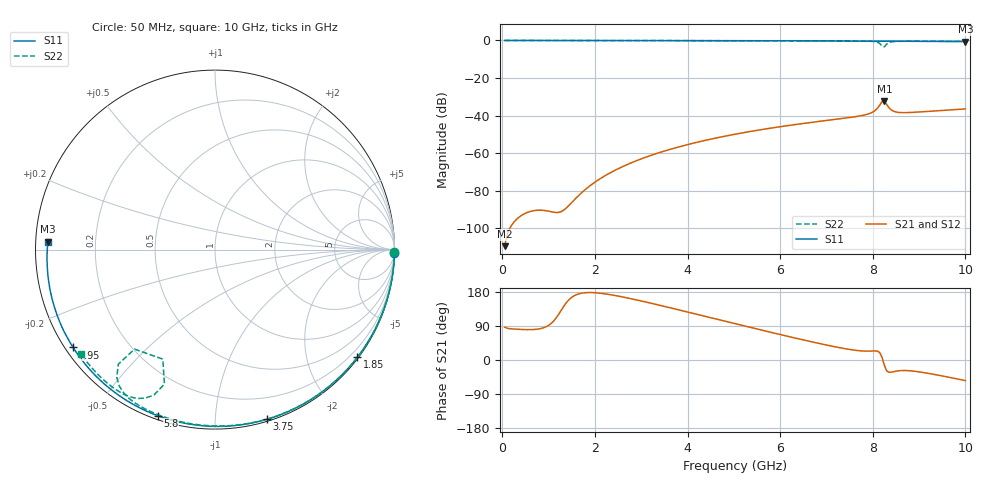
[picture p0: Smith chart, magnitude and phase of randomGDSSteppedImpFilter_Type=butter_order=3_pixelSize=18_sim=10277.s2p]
! freq	dB(S11)	phase(S11)	dB(S12)	phase(S12)
!  dB(S21)	phase(S21)	dB(S22)	phase(S22)
!S-par simulation data
#  GHz  S  DB  R 50
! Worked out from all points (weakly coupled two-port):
!   200 points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, 50 MHz to 10 GHz, reference 50 ohm
!   highest |S21| = -32.35 dB at 8.25 GHz (marker M1); lowest = -109.6 dB at 50 MHz (marker M2)
!   lowest |S11| = -0.6 dB at 10 GHz (marker M3), VSWR 28.49, Z = 1.76 + j1.2 ohm
!   |S11| at or under -10 dB: nowhere
!   |S22| runs from -3.4 to 0.0 dB; largest |S21 - S12| = 0
!   S11 on the Smith chart (normalised r, x): 50 MHz: open; 1.85 GHz: 0.03, -2.98; 3.75 GHz: 0.02, -1.35; 5.8 GHz: 0.02, -0.71; 7.95 GHz: 0.02, -0.31; 10 GHz: 0.04, +0.02
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0.05  -0.00 -1.0  -109.61 86.5  -109.61 86.5  -0.00 -0.8
0.85  -0.02 -17.3  -90.45 83.6  -90.45 83.6  -0.02 -14.0
1.75  -0.04 -35.1  -80.33 177.0  -80.33 177.0  -0.04 -28.6
1.85  -0.05 -37.1  -78.27 178.0  -78.27 178.0  -0.04 -30.2
2.15  -0.05 -43.0  -73.10 175.7  -73.10 175.7  -0.04 -35.0
2.5  -0.06 -49.7  -68.37 168.7  -68.37 168.7  -0.05 -40.5
3.4  -0.09 -66.6  -59.69 144.4  -59.69 144.4  -0.07 -54.4
3.75  -0.10 -73.0  -57.13 134.1  -57.13 134.1  -0.08 -59.7
5.05  -0.15 -96.1  -49.85 95.2  -49.85 95.2  -0.12 -78.7
5.8  -0.19 -109.0  -46.71 73.0  -46.71 73.0  -0.15 -89.2
6.7  -0.24 -124.2  -43.57 47.5  -43.57 47.5  -0.20 -101.7
7.65  -0.32 -140.3  -40.51 25.3  -40.51 25.3  -0.29 -115.5
7.95  -0.35 -145.4  -38.74 23.4  -38.74 23.4  -0.44 -121.8
8.05  -0.36 -147.1  -37.33 24.0  -37.33 24.0  -0.66 -125.2
8.15  -0.37 -148.8  -34.49 19.5  -34.49 19.5  -1.57 -130.2
8.2  -0.38 -149.7  -32.64 7.4  -32.64 7.4  -2.94 -129.0
8.25  -0.38 -150.6  -32.35 -14.0  -32.35 -14.0  -3.40 -115.5
8.3  -0.38 -151.4  -34.09 -28.5  -34.09 -28.5  -1.93 -110.6
8.35  -0.39 -152.3  -35.87 -32.5  -35.87 -32.5  -1.12 -112.8
8.45  -0.40 -154.1  -37.72 -30.7  -37.72 -30.7  -0.61 -117.2
8.65  -0.42 -157.6  -38.46 -27.7  -38.46 -27.7  -0.42 -122.4
10  -0.61 177.2  -36.48 -54.4  -36.48 -54.4  -0.48 -142.0
